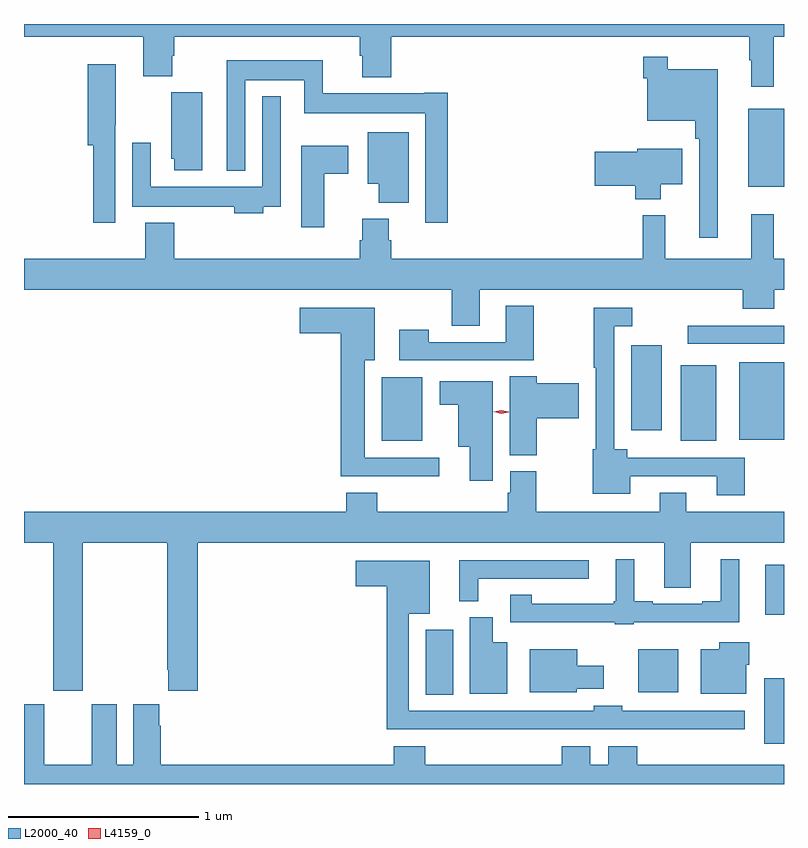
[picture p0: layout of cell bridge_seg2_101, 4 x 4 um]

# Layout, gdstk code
import gdstk
lib = gdstk.Library(unit=1e-6, precision=1e-09)
def R(c, l, rs):  # rectangles x0, y0, x1, y1
    for r in rs: c.add(gdstk.rectangle(r[:2], r[2:], *l))
def P(c, l, *ps):  # polygons
    for p in ps: c.add(gdstk.Polygon(p, *l))
L2000_40 = (2000, 40)
L4159_0 = (4159, 0)

bridge_seg2_101 = lib.new_cell('bridge_seg2_101')
R(bridge_seg2_101, L2000_40, [(590.933,630.596,591.036,630.94), (589.151,630.853,589.294,631.195), (590.27,630.866,590.479,631.093), (590.936,631.274,591.036,631.537), (588.92,632.189,589.132,632.524), (590.492,632.189,590.68,632.587), (590.801,632.195,591.036,632.602), (590.231,632.244,590.392,632.692), (590.529,632.7,591.036,632.796), (590.849,633.527,591.036,633.937)])
P(bridge_seg2_101, L2000_40, [(590.981,634.316),(591.036,634.316),(591.036,634.383),(587.036,634.383),(587.036,634.316),(587.663,634.316),(587.663,634.108),(587.815,634.108),(587.815,634.217),(587.828,634.217),(587.828,634.316),(588.803,634.316),(588.803,634.215),(588.815,634.215),(588.815,634.103),(588.968,634.103),(588.968,634.316),(590.853,634.316),(590.853,634.193),(590.864,634.193),(590.864,634.053),(590.981,634.053)],
  [(590.686,634.144),(590.425,634.144),(590.425,634.21),(590.296,634.21),(590.296,634.097),(590.316,634.097),(590.316,633.875),(590.569,633.875),(590.569,633.779),(590.589,633.779),(590.589,633.258),(590.686,633.258)],
  [(589.265,634.021),(589.142,634.021),(589.142,634.018),(588.608,634.018),(588.608,634.192),(588.104,634.192),(588.104,633.611),(588.201,633.611),(588.201,634.088),(588.51,634.088),(588.51,633.914),(589.149,633.914),(589.149,633.336),(589.265,633.336)],
  [(587.517,633.85),(587.518,633.85),(587.518,634.171),(587.372,634.171),(587.372,633.746),(587.401,633.746),(587.401,633.336),(587.517,633.336)],
  [(587.974,634.023),(587.81,634.023),(587.81,633.675),(587.828,633.675),(587.828,633.612),(587.974,633.612)],
  [(588.295,633.42),(588.387,633.42),(588.387,634.003),(588.291,634.003),(588.291,633.526),(587.703,633.526),(587.703,633.757),(587.607,633.757),(587.607,633.422),(587.911,633.422),(587.911,633.42),(588.143,633.42),(588.143,633.386),(588.295,633.386)],
  [(589.06,633.814),(588.845,633.814),(588.845,633.542),(588.902,633.542),(588.902,633.443),(589.06,633.443)],
  [(588.616,633.595),(588.742,633.595),(588.742,633.742),(588.494,633.742),(588.494,633.312),(588.616,633.312)],
  [(590.386,633.539),(590.5,633.539),(590.5,633.727),(590.264,633.727),(590.264,633.71),(590.04,633.71),(590.04,633.532),(590.252,633.532),(590.252,633.461),(590.386,633.461)],
  [(589.435,632.984),(590.819,632.984),(590.819,632.885),(590.984,632.885),(590.984,632.984),(591.036,632.984),(591.036,633.148),(590.981,633.148),(590.981,633.382),(590.864,633.382),(590.864,633.148),(590.411,633.148),(590.411,633.376),(590.293,633.376),(590.293,633.148),(588.968,633.148),(588.968,633.246),(588.955,633.246),(588.955,633.358),(588.815,633.358),(588.815,633.246),(588.803,633.246),(588.803,633.148),(587.828,633.148),(587.828,633.337),(587.675,633.337),(587.675,633.148),(587.036,633.148),(587.036,632.984),(589.288,632.984),(589.288,632.794),(589.435,632.794)],
  [(589.719,632.899),(589.571,632.899),(589.571,632.709),(589.167,632.709),(589.167,632.773),(589.011,632.773),(589.011,632.613),(589.719,632.613)],
  [(589.222,632.1),(588.829,632.1),(588.829,632.612),(588.883,632.612),(588.883,632.89),(588.486,632.89),(588.486,632.756),(588.704,632.756),(588.704,632.003),(589.222,632.003)],
  [(590.829,632.1),(590.212,632.1),(590.212,632.146),(590.142,632.146),(590.142,632.793),(590.236,632.793),(590.236,632.889),(590.034,632.889),(590.034,632.575),(590.046,632.575),(590.046,632.146),(590.03,632.146),(590.03,631.91),(590.227,631.91),(590.227,632.004),(590.681,632.004),(590.681,631.902),(590.829,631.902)],
  [(589.734,632.309),(589.957,632.309),(589.957,632.492),(589.734,632.492),(589.734,632.528),(589.592,632.528),(589.592,632.113),(589.734,632.113)],
  [(589.504,632.503),(589.223,632.503),(589.223,632.378),(589.322,632.378),(589.322,632.159),(589.382,632.159),(589.382,631.98),(589.504,631.98)],
  [(587.346,631.652),(587.791,631.652),(587.791,630.985),(587.795,630.985),(587.795,630.873),(587.951,630.873),(587.951,631.652),(590.405,631.652),(590.405,631.417),(590.545,631.417),(590.545,631.652),(591.036,631.652),(591.036,631.816),(590.521,631.816),(590.521,631.915),(590.381,631.915),(590.381,631.816),(589.731,631.816),(589.731,632.028),(589.595,632.028),(589.595,631.917),(589.583,631.917),(589.583,631.816),(588.896,631.816),(588.896,631.915),(588.731,631.915),(588.731,631.816),(587.036,631.816),(587.036,631.652),(587.191,631.652),(587.191,630.873),(587.346,630.873)],
  [(590.244,631.235),(590.8,631.235),(590.8,631.567),(590.702,631.567),(590.702,631.345),(590.606,631.345),(590.606,631.332),(590.344,631.332),(590.344,631.345),(590.248,631.345),(590.248,631.567),(590.15,631.567),(590.15,631.345),(590.139,631.345),(590.139,631.333),(589.709,631.333),(589.709,631.379),(589.596,631.379),(589.596,631.235),(590.144,631.235),(590.144,631.224),(590.244,631.224)],
  [(589.426,631.464),(590.008,631.464),(590.008,631.56),(589.328,631.56),(589.328,631.345),(589.426,631.345)],
  [(589.781,630.672),(590.284,630.672),(590.284,630.671),(590.83,630.671),(590.83,630.768),(590.184,630.768),(590.184,630.796),(590.034,630.796),(590.034,630.768),(589.062,630.768),(589.062,631.28),(589.171,631.28),(589.171,631.558),(588.783,631.558),(588.783,631.424),(588.946,631.424),(588.946,630.672),(589.231,630.672),(589.231,630.671),(589.781,630.671)],
  [(589.579,631.129),(589.504,631.129),(589.504,631.26),(589.382,631.26),(589.382,630.857),(589.579,630.857)],
  [(590.836,631.011),(590.854,631.011),(590.854,631.129),(590.696,631.129),(590.696,631.093),(590.597,631.093),(590.597,630.857),(590.836,630.857)],
  [(589.944,630.884),(590.086,630.884),(590.086,631.006),(589.948,631.006),(589.948,631.093),(589.697,631.093),(589.697,630.866),(589.944,630.866)],
  [(591.036,630.484),(590.264,630.484),(590.264,630.583),(590.111,630.583),(590.111,630.484),(590.017,630.484),(590.017,630.583),(589.865,630.583),(589.865,630.484),(589.148,630.484),(589.148,630.583),(588.983,630.583),(588.983,630.484),(587.756,630.484),(587.756,630.689),(587.749,630.689),(587.749,630.802),(587.612,630.802),(587.612,630.484),(587.524,630.484),(587.524,630.802),(587.393,630.802),(587.393,630.484),(587.143,630.484),(587.143,630.802),(587.036,630.802),(587.036,630.383),(591.036,630.383)])
P(bridge_seg2_101, L4159_0, [(589.547,632.331),(589.509,632.341),(589.508,632.342),(589.509,632.342),(589.548,632.351),(589.586,632.341),(589.586,632.34),(589.586,632.34)])

lib.write_gds('bridge_seg2_101.gds')
